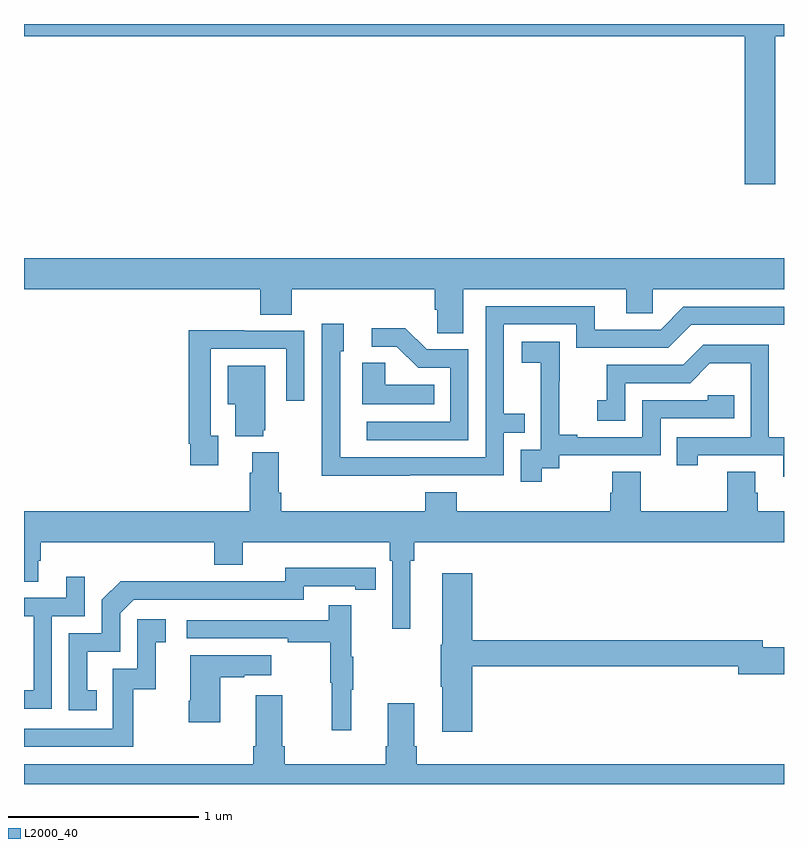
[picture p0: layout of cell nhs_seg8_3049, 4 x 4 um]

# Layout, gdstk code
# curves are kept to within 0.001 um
import gdstk
lib = gdstk.Library(unit=1e-6, precision=1e-09)
def P(c, l, *ps):  # polygons
    for p in ps: c.add(gdstk.Polygon(p, *l))
L2000_40 = (2000, 40)

nhs_seg8_3049 = lib.new_cell('nhs_seg8_3049')
P(nhs_seg8_3049, L2000_40, [(304.953,1113.836),(305,1113.836),(305,1113.9),(301,1113.9),(301,1113.836),(304.793,1113.836),(304.793,1113.057),(304.953,1113.057)],
  [(303.313,1112.504),(304.169,1112.504),(304.169,1112.377),(304.308,1112.377),(304.308,1112.504),(305,1112.504),(305,1112.668),(301,1112.668),(301,1112.504),(302.243,1112.504),(302.243,1112.371),(302.408,1112.371),(302.408,1112.504),(303.161,1112.504),(303.161,1112.395),(303.174,1112.395),(303.174,1112.272),(303.313,1112.272)],
  [(303.029,1111.524),(303.525,1111.524),(303.525,1111.749),(303.635,1111.749),(303.635,1111.85),(303.525,1111.85),(303.525,1112.319),(303.906,1112.319),(303.906,1112.196),(304.392,1112.196),(304.512,1112.316),(305,1112.316),(305,1112.412),(304.47,1112.412),(304.35,1112.292),(304.003,1112.292),(304.003,1112.415),(303.429,1112.415),(303.429,1111.62),(302.664,1111.62),(302.664,1112.178),(302.683,1112.178),(302.683,1112.323),(302.568,1112.323),(302.568,1111.829),(302.566,1111.829),(302.566,1111.523)],
  [(303.339,1112.187),(303.12,1112.187),(303.007,1112.3),(302.829,1112.3),(302.829,1112.202),(302.963,1112.202),(303.074,1112.091),(303.243,1112.091),(303.243,1111.806),(302.805,1111.806),(302.805,1111.71),(303.339,1111.71)],
  [(302.023,1111.734),(301.983,1111.734),(301.983,1112.19),(302.379,1112.19),(302.379,1111.917),(302.475,1111.917),(302.475,1112.286),(302.159,1112.286),(302.159,1112.288),(301.867,1112.288),(301.867,1111.69),(301.875,1111.69),(301.875,1111.578),(302.023,1111.578)],
  [(303.724,1111.561),(303.816,1111.561),(303.816,1111.629),(304.35,1111.629),(304.35,1111.824),(304.739,1111.824),(304.739,1111.947),(304.599,1111.947),(304.599,1111.92),(304.254,1111.92),(304.254,1111.725),(303.913,1111.725),(303.913,1111.738),(303.818,1111.738),(303.818,1112.021),(303.819,1112.021),(303.819,1112.227),(303.621,1112.227),(303.621,1112.117),(303.719,1112.117),(303.719,1111.889),(303.72,1111.889),(303.72,1111.659),(303.615,1111.659),(303.615,1111.491),(303.724,1111.491)],
  [(305,1111.725),(304.92,1111.725),(304.92,1112.211),(304.574,1112.211),(304.469,1112.106),(304.066,1112.106),(304.066,1111.921),(304.017,1111.921),(304.017,1111.812),(304.164,1111.812),(304.164,1112.01),(304.506,1112.01),(304.61,1112.114),(304.824,1112.114),(304.824,1111.725),(304.435,1111.725),(304.435,1111.578),(304.546,1111.578),(304.546,1111.629),(304.997,1111.629),(304.997,1111.518),(305,1111.518)],
  [(303.158,1112.002),(302.901,1112.002),(302.901,1112.117),(302.78,1112.117),(302.78,1111.898),(303.158,1111.898)],
  [(302.258,1111.761),(302.269,1111.761),(302.269,1112.101),(302.072,1112.101),(302.072,1111.898),(302.111,1111.898),(302.111,1111.73),(302.258,1111.73)],
  [(301,1110.964),(301.075,1110.964),(301.075,1111.074),(301.088,1111.074),(301.088,1111.172),(302,1111.172),(302,1111.055),(302.152,1111.055),(302.152,1111.172),(302.924,1111.172),(302.924,1111.076),(302.937,1111.076),(302.937,1110.717),(303.034,1110.717),(303.034,1111.076),(303.053,1111.076),(303.053,1111.172),(305,1111.172),(305,1111.336),(304.862,1111.336),(304.862,1111.434),(304.849,1111.434),(304.849,1111.544),(304.702,1111.544),(304.702,1111.336),(304.245,1111.336),(304.245,1111.544),(304.097,1111.544),(304.097,1111.434),(304.085,1111.434),(304.085,1111.336),(303.278,1111.336),(303.278,1111.435),(303.113,1111.435),(303.113,1111.336),(302.354,1111.336),(302.354,1111.432),(302.341,1111.432),(302.341,1111.645),(302.201,1111.645),(302.201,1111.538),(302.189,1111.538),(302.189,1111.336),(301,1111.336)],
  [(301.382,1110.393),(301.333,1110.393),(301.333,1110.597),(301.506,1110.597),(301.506,1110.798),(301.578,1110.87),(302.472,1110.87),(302.472,1110.942),(302.744,1110.942),(302.744,1110.922),(302.852,1110.922),(302.852,1111.038),(302.376,1111.039),(302.376,1110.966),(301.916,1110.966),(301.916,1110.968),(301.508,1110.968),(301.41,1110.87),(301.41,1110.693),(301.236,1110.693),(301.236,1110.288),(301.382,1110.288)],
  [(303.359,1110.52),(304.76,1110.52),(304.76,1110.478),(305,1110.478),(305,1110.62),(304.888,1110.62),(304.888,1110.656),(303.359,1110.656),(303.359,1111.009),(303.2,1111.009),(303.2,1110.633),(303.193,1110.633),(303.193,1110.412),(303.2,1110.412),(303.2,1110.174),(303.359,1110.174)],
  [(301.146,1110.783),(301.32,1110.783),(301.32,1110.991),(301.223,1110.991),(301.223,1110.879),(301,1110.879),(301,1110.783),(301.05,1110.783),(301.05,1110.394),(301,1110.394),(301,1110.297),(301.146,1110.297)],
  [(302.723,1110.395),(302.734,1110.395),(302.734,1110.569),(302.723,1110.569),(302.723,1110.841),(302.605,1110.841),(302.605,1110.762),(301.857,1110.762),(301.857,1110.666),(302.389,1110.666),(302.389,1110.646),(302.613,1110.646),(302.613,1110.432),(302.62,1110.432),(302.62,1110.183),(302.723,1110.183)],
  [(301.576,1110.399),(301.694,1110.399),(301.694,1110.645),(301.747,1110.645),(301.747,1110.766),(301.596,1110.766),(301.596,1110.507),(301.467,1110.507),(301.467,1110.192),(301,1110.192),(301,1110.096),(301.576,1110.096)],
  [(302.032,1110.463),(302.159,1110.463),(302.159,1110.473),(302.302,1110.473),(302.302,1110.577),(301.874,1110.577),(301.874,1110.337),(301.867,1110.337),(301.867,1110.225),(302.032,1110.225)],
  [(305,1110.004),(303.068,1110.004),(303.068,1110.1),(303.055,1110.1),(303.055,1110.325),(302.915,1110.325),(302.915,1110.1),(302.903,1110.1),(302.903,1110.004),(302.372,1110.004),(302.372,1110.1),(302.359,1110.1),(302.359,1110.367),(302.219,1110.367),(302.219,1110.1),(302.207,1110.1),(302.207,1110.004),(301,1110.004),(301,1109.9),(305,1109.9)])

lib.write_gds('nhs_seg8_3049.gds')
